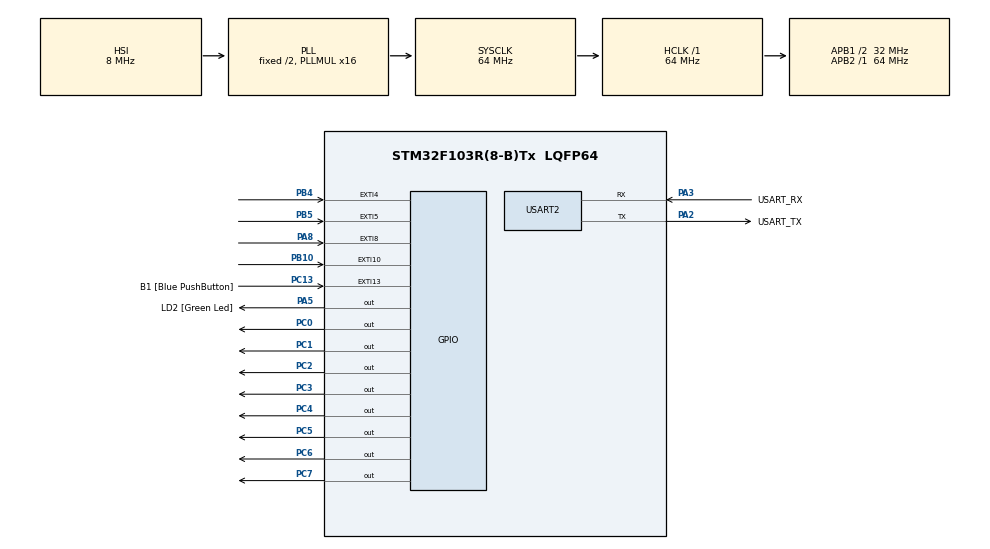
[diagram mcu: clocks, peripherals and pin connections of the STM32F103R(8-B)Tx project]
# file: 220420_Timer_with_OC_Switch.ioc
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Mcu.Family=STM32F1
Mcu.Name=STM32F103R(8-B)Tx
Mcu.Package=LQFP64
NVIC.EXTI15_10_IRQn=true\:0\:0\:false\:false\:true\:true\:true\:true
NVIC.EXTI4_IRQn=true\:0\:0\:false\:false\:true\:true\:true\:true
NVIC.EXTI9_5_IRQn=true\:0\:0\:false\:false\:true\:true\:true\:true
NVIC.PriorityGroup=NVIC_PRIORITYGROUP_4
NVIC.TIM2_IRQn=true\:0\:0\:false\:false\:true\:true\:true\:true
PA13.GPIO_Label=TMS
PA13.Mode=Serial_Wire
PA13.Signal=SYS_JTMS-SWDIO
PA14.GPIO_Label=TCK
PA14.Mode=Serial_Wire
PA14.Signal=SYS_JTCK-SWCLK
PA2.GPIO_Label=USART_TX
PA2.GPIO_Mode=GPIO_MODE_AF_PP
PA2.GPIO_PuPd=GPIO_NOPULL
PA2.GPIO_Speed=GPIO_SPEED_FREQ_LOW
PA2.Mode=Asynchronous
PA2.Signal=USART2_TX
PA3.GPIO_Label=USART_RX
PA3.GPIO_Mode=GPIO_MODE_AF_PP
PA3.GPIO_PuPd=GPIO_NOPULL
PA3.GPIO_Speed=GPIO_SPEED_FREQ_LOW
PA3.Mode=Asynchronous
PA3.Signal=USART2_RX
PA5.GPIO_Label=LD2 [Green Led]
PA5.GPIO_ModeDefaultOutputPP=GPIO_MODE_OUTPUT_PP
PA5.GPIO_PuPd=GPIO_NOPULL
PA5.GPIO_Speed=GPIO_SPEED_FREQ_LOW
PA5.Signal=GPIO_Output
PA8.Signal=GPXTI8
PB10.Signal=GPXTI10
PB3.GPIO_Label=SWO
PB3.Signal=SYS_JTDO-TRACESWO
PB4.Signal=GPXTI4
PB5.Signal=GPXTI5
PC0.Signal=GPIO_Output
PC1.Signal=GPIO_Output
PC13-TAMPER-RTC.GPIO_Label=B1 [Blue PushButton]
PC13-TAMPER-RTC.GPIO_PuPd=GPIO_NOPULL
PC13-TAMPER-RTC.Signal=GPXTI13
PC14-OSC32_IN.Mode=LSE-External-Oscillator
PC14-OSC32_IN.Signal=RCC_OSC32_IN
PC15-OSC32_OUT.Mode=LSE-External-Oscillator
PC15-OSC32_OUT.Signal=RCC_OSC32_OUT
PC2.Signal=GPIO_Output
PC3.Signal=GPIO_Output
PC4.Signal=GPIO_Output
PC5.Signal=GPIO_Output
PC6.Signal=GPIO_Output
PC7.Signal=GPIO_Output
PD0-OSC_IN.Mode=HSE-External-Clock-Source
PD0-OSC_IN.Signal=RCC_OSC_IN
PD1-OSC_OUT.Mode=HSE-External-Clock-Source
PD1-OSC_OUT.Signal=RCC_OSC_OUT
ProjectManager.HeapSize=0x200
ProjectManager.StackSize=0x400
ProjectManager.TargetToolchain=STM32CubeIDE
RCC.AHBFreq_Value=64000000
RCC.APB1CLKDivider=RCC_HCLK_DIV2
RCC.APB1Freq_Value=32000000
RCC.APB1TimFreq_Value=64000000
RCC.APB2Freq_Value=64000000
RCC.APB2TimFreq_Value=64000000
RCC.HCLKFreq_Value=64000000
RCC.PLLMUL=RCC_PLL_MUL16
RCC.RTCClockSelection=RCC_RTCCLKSOURCE_LSE
RCC.SYSCLKFreq_VALUE=64000000
RCC.SYSCLKSource=RCC_SYSCLKSOURCE_PLLCLK
RCC.USBFreq_Value=64000000
TIM2.Channel-Output\ Compare1\ No\ Output=TIM_CHANNEL_1
TIM2.Channel-Output\ Compare2\ No\ Output=TIM_CHANNEL_2
TIM2.Channel-Output\ Compare3\ No\ Output=TIM_CHANNEL_3
TIM2.Channel-Output\ Compare4\ No\ Output=TIM_CHANNEL_4
TIM2.Period=10000-1
TIM2.Prescaler=6400-1
TIM2.Pulse-Output\ Compare1\ No\ Output=1000-1
USART2.VirtualMode=VM_ASYNC
VP_TIM2_VS_ClockSourceINT.Mode=Internal
VP_TIM2_VS_no_output1.Mode=Output Compare1 No Output
VP_TIM2_VS_no_output2.Mode=Output Compare2 No Output
VP_TIM2_VS_no_output3.Mode=Output Compare3 No Output
VP_TIM2_VS_no_output4.Mode=Output Compare4 No Output
board=NUCLEO-F103RB

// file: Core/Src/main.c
/* USER CODE BEGIN Header */
/**
  ******************************************************************************
  * @file           : main.c
  * @brief          : Main program body
  ******************************************************************************
  * @attention
  *
  * Copyright (c) 2022 STMicroelectronics.
  * All rights reserved.
  *
  * This software is licensed under terms that can be found in the LICENSE file
  * in the root directory of this software component.
  * If no LICENSE file comes with this software, it is provided AS-IS.
  *
  ******************************************************************************
  */
/* USER CODE END Header */
#include "main.h"

 TIM_HandleTypeDef htim2;

UART_HandleTypeDef huart2;

TIM_ClockConfigTypeDef sClockSourceConfig = {0};
TIM_MasterConfigTypeDef sMasterConfig = {0};
TIM_OC_InitTypeDef sConfigOC = {0};

void SystemClock_Config(void); 			// 얜 누구때문에 나온거지..? 아마 외부 인터럽트 인듯.
static void MX_GPIO_Init(void);
static void MX_USART2_UART_Init(void);
static void MX_TIM2_Init(void); 		// 타이머 시작할거야.

int main(void)
{

  /* MCU Configuration--------------------------------------------------------*/

  /* Reset of all peripherals, Initializes the Flash interface and the Systick. */
  HAL_Init();

  /* Configure the system clock */
  SystemClock_Config();

  /* Initialize all configured peripherals */
  MX_GPIO_Init();
  MX_USART2_UART_Init();
  MX_TIM2_Init();
  /* USER CODE BEGIN 2 */
  HAL_TIM_Base_Start_IT(&htim2);
  HAL_TIM_OC_Start_IT(&htim2, TIM_CHANNEL_1);

  /* USER CODE END 2 */

  /* Infinite loop */
  while (1)
  {

  }
}

void SystemClock_Config(void)
{
  RCC_OscInitTypeDef RCC_OscInitStruct = {0};
  RCC_ClkInitTypeDef RCC_ClkInitStruct = {0};

  /** Initializes the RCC Oscillators according to the specified parameters
  * in the RCC_OscInitTypeDef structure.
  */
  RCC_OscInitStruct.OscillatorType = RCC_OSCILLATORTYPE_HSI;
  RCC_OscInitStruct.HSIState = RCC_HSI_ON;
  RCC_OscInitStruct.HSICalibrationValue = RCC_HSICALIBRATION_DEFAULT;
  RCC_OscInitStruct.PLL.PLLState = RCC_PLL_ON;
  RCC_OscInitStruct.PLL.PLLSource = RCC_PLLSOURCE_HSI_DIV2;
  RCC_OscInitStruct.PLL.PLLMUL = RCC_PLL_MUL16;
  if (HAL_RCC_OscConfig(&RCC_OscInitStruct) != HAL_OK)
  {
    Error_Handler();
  }

  /** Initializes the CPU, AHB and APB buses clocks
  */
  RCC_ClkInitStruct.ClockType = RCC_CLOCKTYPE_HCLK|RCC_CLOCKTYPE_SYSCLK
                              |RCC_CLOCKTYPE_PCLK1|RCC_CLOCKTYPE_PCLK2;
  RCC_ClkInitStruct.SYSCLKSource = RCC_SYSCLKSOURCE_PLLCLK;
  RCC_ClkInitStruct.AHBCLKDivider = RCC_SYSCLK_DIV1;
  RCC_ClkInitStruct.APB1CLKDivider = RCC_HCLK_DIV2;
  RCC_ClkInitStruct.APB2CLKDivider = RCC_HCLK_DIV1;

  if (HAL_RCC_ClockConfig(&RCC_ClkInitStruct, FLASH_LATENCY_2) != HAL_OK)
  {
    Error_Handler();
  }
}

static void MX_TIM2_Init(void)
{

  htim2.Instance = TIM2;
  htim2.Init.Prescaler = 6400-1;
  htim2.Init.CounterMode = TIM_COUNTERMODE_UP;
  htim2.Init.Period = 10000-1;
  htim2.Init.ClockDivision = TIM_CLOCKDIVISION_DIV1;
  htim2.Init.AutoReloadPreload = TIM_AUTORELOAD_PRELOAD_DISABLE;
  if (HAL_TIM_Base_Init(&htim2) != HAL_OK)
  {
    Error_Handler();
  }
  sClockSourceConfig.ClockSource = TIM_CLOCKSOURCE_INTERNAL;
  if (HAL_TIM_ConfigClockSource(&htim2, &sClockSourceConfig) != HAL_OK)
  {
    Error_Handler();
  }
  if (HAL_TIM_OC_Init(&htim2) != HAL_OK)
  {
    Error_Handler();
  }
  sMasterConfig.MasterOutputTrigger = TIM_TRGO_RESET;
  sMasterConfig.MasterSlaveMode = TIM_MASTERSLAVEMODE_DISABLE;
  if (HAL_TIMEx_MasterConfigSynchronization(&htim2, &sMasterConfig) != HAL_OK)
  {
    Error_Handler();
  }
  sConfigOC.OCMode = TIM_OCMODE_TIMING;
  sConfigOC.Pulse = 1000-1; //ARR 10000-1;
  sConfigOC.OCPolarity = TIM_OCPOLARITY_HIGH;
  sConfigOC.OCFastMode = TIM_OCFAST_DISABLE;
  if (HAL_TIM_OC_ConfigChannel(&htim2, &sConfigOC, TIM_CHANNEL_1) != HAL_OK)
  {
    Error_Handler();
  }

}

static void MX_USART2_UART_Init(void)
{

  huart2.Instance = USART2;
  huart2.Init.BaudRate = 115200;
  huart2.Init.WordLength = UART_WORDLENGTH_8B;
  huart2.Init.StopBits = UART_STOPBITS_1;
  huart2.Init.Parity = UART_PARITY_NONE;
  huart2.Init.Mode = UART_MODE_TX_RX;
  huart2.Init.HwFlowCtl = UART_HWCONTROL_NONE;
  huart2.Init.OverSampling = UART_OVERSAMPLING_16;
  if (HAL_UART_Init(&huart2) != HAL_OK)
  {
    Error_Handler();
  }

}

static void MX_GPIO_Init(void)
{
  GPIO_InitTypeDef GPIO_InitStruct = {0};

  /* GPIO Ports Clock Enable */
  __HAL_RCC_GPIOC_CLK_ENABLE();
  __HAL_RCC_GPIOD_CLK_ENABLE();
  __HAL_RCC_GPIOA_CLK_ENABLE();
  __HAL_RCC_GPIOB_CLK_ENABLE();

  /*Configure GPIO pin Output Level */
  HAL_GPIO_WritePin(GPIOC, GPIO_PIN_0|GPIO_PIN_1|GPIO_PIN_2|GPIO_PIN_3
                          |GPIO_PIN_4|GPIO_PIN_5|GPIO_PIN_6|GPIO_PIN_7, GPIO_PIN_RESET);

  /*Configure GPIO pin Output Level */
  HAL_GPIO_WritePin(LD2_GPIO_Port, LD2_Pin, GPIO_PIN_RESET);

  /*Configure GPIO pin : B1_Pin */
  GPIO_InitStruct.Pin = B1_Pin;
  GPIO_InitStruct.Mode = GPIO_MODE_IT_RISING;
  GPIO_InitStruct.Pull = GPIO_NOPULL;
  HAL_GPIO_Init(B1_GPIO_Port, &GPIO_InitStruct);

  /*Configure GPIO pins : PC0 PC1 PC2 PC3
                           PC4 PC5 PC6 PC7 */
  GPIO_InitStruct.Pin = GPIO_PIN_0|GPIO_PIN_1|GPIO_PIN_2|GPIO_PIN_3
                          |GPIO_PIN_4|GPIO_PIN_5|GPIO_PIN_6|GPIO_PIN_7;
  GPIO_InitStruct.Mode = GPIO_MODE_OUTPUT_PP;
  GPIO_InitStruct.Pull = GPIO_NOPULL;
  GPIO_InitStruct.Speed = GPIO_SPEED_FREQ_LOW;
  HAL_GPIO_Init(GPIOC, &GPIO_InitStruct);

  /*Configure GPIO pin : LD2_Pin */
  GPIO_InitStruct.Pin = LD2_Pin;
  GPIO_InitStruct.Mode = GPIO_MODE_OUTPUT_PP;
  GPIO_InitStruct.Pull = GPIO_NOPULL;
  GPIO_InitStruct.Speed = GPIO_SPEED_FREQ_LOW;
  HAL_GPIO_Init(LD2_GPIO_Port, &GPIO_InitStruct);

  /*Configure GPIO pins : PB10 PB4 PB5 */
  GPIO_InitStruct.Pin = GPIO_PIN_10|GPIO_PIN_4|GPIO_PIN_5;
  GPIO_InitStruct.Mode = GPIO_MODE_IT_RISING;
  GPIO_InitStruct.Pull = GPIO_NOPULL;
  HAL_GPIO_Init(GPIOB, &GPIO_InitStruct);

  /*Configure GPIO pin : PA8 */
  GPIO_InitStruct.Pin = GPIO_PIN_8;
  GPIO_InitStruct.Mode = GPIO_MODE_IT_RISING;
  GPIO_InitStruct.Pull = GPIO_NOPULL;
  HAL_GPIO_Init(GPIOA, &GPIO_InitStruct);

  /* EXTI interrupt init*/
  HAL_NVIC_SetPriority(EXTI4_IRQn, 0, 0);
  HAL_NVIC_EnableIRQ(EXTI4_IRQn);

  HAL_NVIC_SetPriority(EXTI9_5_IRQn, 0, 0);
  HAL_NVIC_EnableIRQ(EXTI9_5_IRQn);

  HAL_NVIC_SetPriority(EXTI15_10_IRQn, 0, 0);
  HAL_NVIC_EnableIRQ(EXTI15_10_IRQn);

}

/* USER CODE BEGIN 4 */
void HAL_TIM_PeriodElapsedCallback(TIM_HandleTypeDef *htim){
	HAL_GPIO_WritePin(GPIOC,GPIO_PIN_All,GPIO_PIN_SET);
}

void HAL_TIM_OC_DelayElapsedCallback(TIM_HandleTypeDef *htim){
	HAL_GPIO_WritePin(GPIOC,GPIO_PIN_All,GPIO_PIN_RESET);
}

void HAL_GPIO_EXTI_Callback(uint16_t GPIO_Pin){
	if(GPIO_Pin == GPIO_PIN_8){
		 htim2.Instance->CCR1 = 1000-1;									// 방법 1. CCR1 주소에 직접 접근하여 값을 넣어줌.
		 	 	 	 	 	 	 	 	 	 	 	 	 	 	 	 	// htim2.Instance == TIM2. 위에 선언해놨음.
	}
	if(GPIO_Pin == GPIO_PIN_4){											// 방법 2. 선언해놓은 HAL_TIM_OC_Config 함수 사용
		sConfigOC.Pulse = 3000-1;										// sConfigOC는 전역 변수로 선언.
		HAL_TIM_OC_ConfigChannel(&htim2, &sConfigOC, TIM_CHANNEL_1);
	}
	if(GPIO_Pin == GPIO_PIN_5){
		sConfigOC.Pulse = 5000-1;
		HAL_TIM_OC_ConfigChannel(&htim2, &sConfigOC, TIM_CHANNEL_1);
	}
	if(GPIO_Pin == GPIO_PIN_10){
		sConfigOC.Pulse = 7000-1;
		HAL_TIM_OC_ConfigChannel(&htim2, &sConfigOC, TIM_CHANNEL_1);
	}
}

/* USER CODE END 4 */

void Error_Handler(void)
{
  __disable_irq();
  while (1)
  {
  }
}
